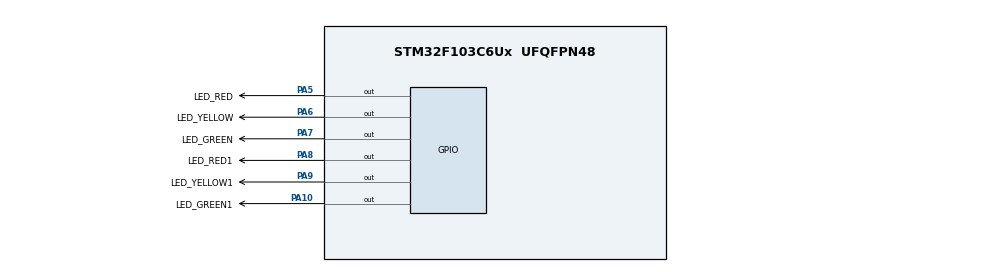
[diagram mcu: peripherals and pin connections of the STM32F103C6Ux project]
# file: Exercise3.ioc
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Mcu.Family=STM32F1
Mcu.Name=STM32F103C6Ux
Mcu.Package=UFQFPN48
NVIC.PriorityGroup=NVIC_PRIORITYGROUP_4
PA10.GPIO_Label=LED_GREEN1
PA10.Signal=GPIO_Output
PA5.GPIO_Label=LED_RED
PA5.Signal=GPIO_Output
PA6.GPIO_Label=LED_YELLOW
PA6.Signal=GPIO_Output
PA7.GPIO_Label=LED_GREEN
PA7.Signal=GPIO_Output
PA8.GPIO_Label=LED_RED1
PA8.Signal=GPIO_Output
PA9.GPIO_Label=LED_YELLOW1
PA9.Signal=GPIO_Output
ProjectManager.HeapSize=0x200
ProjectManager.StackSize=0x400
ProjectManager.TargetToolchain=STM32CubeIDE
RCC.APB1Freq_Value=8000000
RCC.APB2Freq_Value=8000000
VP_SYS_VS_ND.Mode=No_Debug
board=custom

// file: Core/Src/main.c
/* USER CODE BEGIN Header */
/**
  ******************************************************************************
  * @file           : main.c
  * @brief          : Main program body
  ******************************************************************************
  * @attention
  *
  * <h2><center>&copy; Copyright (c) 2022 STMicroelectronics.
  * All rights reserved.</center></h2>
  *
  * This software component is licensed by ST under BSD 3-Clause license,
  * the "License"; You may not use this file except in compliance with the
  * License. You may obtain a copy of the License at:
  *                        opensource.org/licenses/BSD-3-Clause
  *
  ******************************************************************************
  */
/* USER CODE END Header */
#include "main.h"

void SystemClock_Config(void);
static void MX_GPIO_Init(void);

int main(void)
{

  /* MCU Configuration--------------------------------------------------------*/

  /* Reset of all peripherals, Initializes the Flash interface and the Systick. */
  HAL_Init();

  /* Configure the system clock */
  SystemClock_Config();

  /* Initialize all configured peripherals */
  MX_GPIO_Init();

  /* Infinite loop */
  /* USER CODE BEGIN WHILE */
  int a = 1;
  while (1)
  {
    /* USER CODE END WHILE */

    /* USER CODE BEGIN 3 */
	switch(a)
	{
	case 1:
		HAL_GPIO_WritePin(LED_RED_GPIO_Port, LED_RED_Pin, RESET);
		HAL_GPIO_WritePin(LED_YELLOW_GPIO_Port, LED_YELLOW_Pin, SET);
		HAL_GPIO_WritePin(LED_GREEN_GPIO_Port, LED_GREEN_Pin, SET);
		HAL_GPIO_WritePin(LED_GREEN1_GPIO_Port, LED_GREEN1_Pin, RESET);
		HAL_GPIO_WritePin(LED_YELLOW1_GPIO_Port, LED_YELLOW1_Pin, SET);
		HAL_GPIO_WritePin(LED_RED1_GPIO_Port, LED_RED1_Pin, SET);
		break;
	case 3:
		HAL_GPIO_WritePin(LED_GREEN1_GPIO_Port, LED_GREEN1_Pin, SET);
		HAL_GPIO_WritePin(LED_YELLOW1_GPIO_Port, LED_YELLOW1_Pin, RESET);
		break;
	case 5:
		HAL_GPIO_WritePin(LED_RED_GPIO_Port, LED_RED_Pin, SET);
		HAL_GPIO_WritePin(LED_YELLOW1_GPIO_Port, LED_YELLOW1_Pin, SET);
		HAL_GPIO_WritePin(LED_GREEN_GPIO_Port, LED_GREEN_Pin, RESET);
		HAL_GPIO_WritePin(LED_RED1_GPIO_Port, LED_RED1_Pin, RESET);
		break;
	case 8:
		HAL_GPIO_WritePin(LED_GREEN_GPIO_Port, LED_GREEN_Pin, SET);
		HAL_GPIO_WritePin(LED_YELLOW_GPIO_Port, LED_YELLOW_Pin, RESET);
		break;
	case 10:
		a = 0;
		HAL_GPIO_WritePin(LED_RED1_GPIO_Port, LED_RED1_Pin, SET);
		HAL_GPIO_WritePin(LED_YELLOW_GPIO_Port, LED_YELLOW_Pin, SET);
		HAL_GPIO_WritePin(LED_GREEN1_GPIO_Port, LED_GREEN1_Pin, RESET);
		HAL_GPIO_WritePin(LED_RED_GPIO_Port, LED_RED_Pin, RESET);
		break;
	}
	HAL_Delay(1000);
	a++;
  }
  /* USER CODE END 3 */
}

void SystemClock_Config(void)
{
  RCC_OscInitTypeDef RCC_OscInitStruct = {0};
  RCC_ClkInitTypeDef RCC_ClkInitStruct = {0};

  /** Initializes the RCC Oscillators according to the specified parameters
  * in the RCC_OscInitTypeDef structure.
  */
  RCC_OscInitStruct.OscillatorType = RCC_OSCILLATORTYPE_HSI;
  RCC_OscInitStruct.HSIState = RCC_HSI_ON;
  RCC_OscInitStruct.HSICalibrationValue = RCC_HSICALIBRATION_DEFAULT;
  RCC_OscInitStruct.PLL.PLLState = RCC_PLL_NONE;
  if (HAL_RCC_OscConfig(&RCC_OscInitStruct) != HAL_OK)
  {
    Error_Handler();
  }
  /** Initializes the CPU, AHB and APB buses clocks
  */
  RCC_ClkInitStruct.ClockType = RCC_CLOCKTYPE_HCLK|RCC_CLOCKTYPE_SYSCLK
                              |RCC_CLOCKTYPE_PCLK1|RCC_CLOCKTYPE_PCLK2;
  RCC_ClkInitStruct.SYSCLKSource = RCC_SYSCLKSOURCE_HSI;
  RCC_ClkInitStruct.AHBCLKDivider = RCC_SYSCLK_DIV1;
  RCC_ClkInitStruct.APB1CLKDivider = RCC_HCLK_DIV1;
  RCC_ClkInitStruct.APB2CLKDivider = RCC_HCLK_DIV1;

  if (HAL_RCC_ClockConfig(&RCC_ClkInitStruct, FLASH_LATENCY_0) != HAL_OK)
  {
    Error_Handler();
  }
}

static void MX_GPIO_Init(void)
{
  GPIO_InitTypeDef GPIO_InitStruct = {0};

  /* GPIO Ports Clock Enable */
  __HAL_RCC_GPIOA_CLK_ENABLE();

  /*Configure GPIO pin Output Level */
  HAL_GPIO_WritePin(GPIOA, LED_RED_Pin|LED_YELLOW_Pin|LED_GREEN_Pin|LED_RED1_Pin
                          |LED_YELLOW1_Pin|LED_GREEN1_Pin, GPIO_PIN_RESET);

  /*Configure GPIO pins : LED_RED_Pin LED_YELLOW_Pin LED_GREEN_Pin LED_RED1_Pin
                           LED_YELLOW1_Pin LED_GREEN1_Pin */
  GPIO_InitStruct.Pin = LED_RED_Pin|LED_YELLOW_Pin|LED_GREEN_Pin|LED_RED1_Pin
                          |LED_YELLOW1_Pin|LED_GREEN1_Pin;
  GPIO_InitStruct.Mode = GPIO_MODE_OUTPUT_PP;
  GPIO_InitStruct.Pull = GPIO_NOPULL;
  GPIO_InitStruct.Speed = GPIO_SPEED_FREQ_LOW;
  HAL_GPIO_Init(GPIOA, &GPIO_InitStruct);

}

void Error_Handler(void)
{
  __disable_irq();
  while (1)
  {
  }
}

/************************ (C) COPYRIGHT STMicroelectronics *****END OF FILE****/
